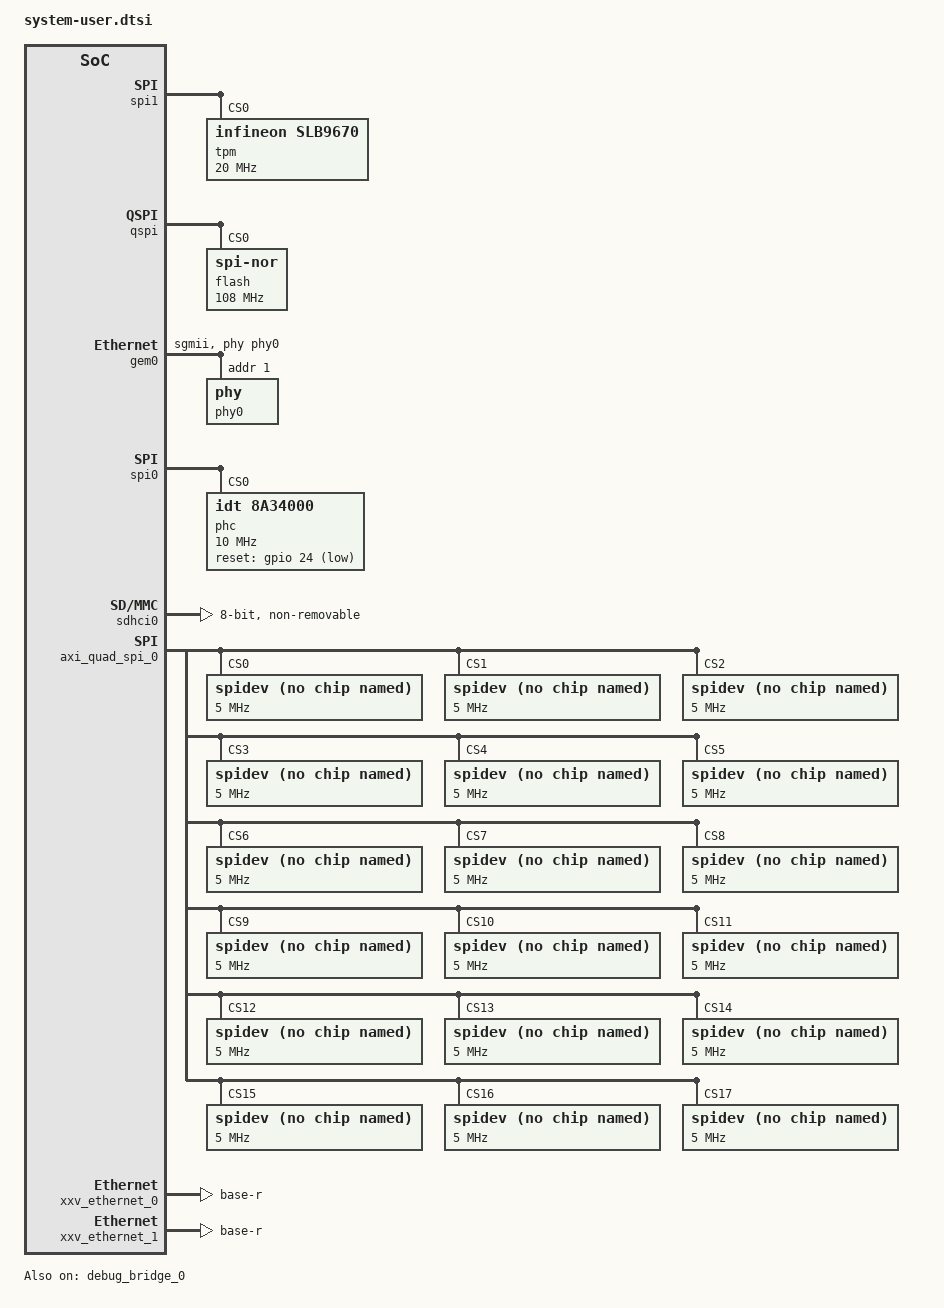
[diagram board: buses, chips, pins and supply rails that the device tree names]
/ {
    gpio_keys:alarm_keys@0 {
        compatible = "gpio-keys";
        label = "Interrupt collection";
    };

    reserved-memory {
        #address-cells = <2>;
        #size-cells = <2>;
        ranges;

        //rts capture data reserved
        reserved: buffer@0 {
            no-map;
            reg = <0x0 0x38000000 0x0 0x4000000>;
        };

		rmdom0domain: rmdom0domain@22000000 {
			reg = <0x0 0x22000000 0x0 0xE000000>; // 224MB conflict with bootscript loading at 0x20000000,shift it
			no-map;
		};		
    };
	
	rmdom0: rmdom0 {
		#address-cells = <1>;
		#size-cells = <1>;
		compatible = "linux,rmdom";
		memory-domain = <&rmdom0domain>;
		ranges;

		logsys@1000 {
			compatible = "linux,rmdom-rmem";
			reg = <0x1000 0x7FFF000>; // 128M - 4K - 4K for log system //skip RMDOM header
		};

		racd@8000000 {
			compatible = "linux,rmdom-rmem";
			reg = <0x8000000 0x4FFF000>; // 80 MB - 4K for Retrospective Analysis Core Dump
		};
	};	

    rts_mem@38000000 {
        compatible = "generic-uio";
        reg = <0x0 0x38000000 0x0 0x4000000>;
    };

/*
    select_map: select-map {
        compatible = "selectmap,ku5p";
        status = "okay";
        reg = <0x0 0xff0a0048 0x0 0x20>;
        first_check_cfg_done = <0>;
        ku_rdwr = <&gpio 65 GPIO_ACTIVE_HIGH>;
        ku_cclk = <&gpio 53 GPIO_ACTIVE_HIGH>;
        ku_prog_b = <&gpio 56 GPIO_ACTIVE_HIGH>;
        ku_cfg_done = <&gpio 52 GPIO_ACTIVE_HIGH>;
        ku_init_b = <&gpio 68 GPIO_ACTIVE_HIGH>;
        ku_csi_b = <&gpio 60 GPIO_ACTIVE_HIGH>;
        // ku_cfg_led = <&gpio 51 GPIO_ACTIVE_HIGH>;
        ku_bank_base = <&gpio 52 GPIO_ACTIVE_HIGH>;
        // D0 - D7
        gpios = <&gpio 64 GPIO_ACTIVE_HIGH
            &gpio 57 GPIO_ACTIVE_HIGH
            &gpio 66 GPIO_ACTIVE_HIGH
            &gpio 69 GPIO_ACTIVE_HIGH
            &gpio 54 GPIO_ACTIVE_HIGH
            &gpio 62 GPIO_ACTIVE_HIGH
            &gpio 61 GPIO_ACTIVE_HIGH
            &gpio 63 GPIO_ACTIVE_HIGH>;
    };
*/
};

&spi1 {
    status = "okay";
    num-cs = <1>;
    tpm@0 {
        compatible = "infineon,slb9670";
        #address-cells = <1>;
        #size-cells = <0>;
        spi-max-frequency = <20000000>;
        reg = <0>;
    };
};

&qspi {
    status = "okay";
    is-dual = <0>;
    num-cs = <1>;
    flash@0 {
        compatible ="jedec,spi-nor";
        reg = <0x0>;
        spi-tx-bus-width = <1>;
        spi-rx-bus-width = <4>;
        spi-max-frequency = <108000000>;
        #address-cells = <1>;
        #size-cells = <1>;
    };
};

&gem0 {
    status = "okay";
    phy-handle = <&phy0>;
    phy-mode = "sgmii";
    is-internal-pcspma = <0x1>;
    phy0: phy@1 {
        reg = <0x1>;
    };
};

&spi0 {
    status = "okay";
    num-cs = <1>;
    u-boot,dm-pre-reloc;
    phc@0 {
        compatible="idt,8a34000";
        reg = <0>;
        spi-max-frequency = <10000000>;
        reset-gpio = <&gpio 24 1>;//GPIO_ACTIVE_LOW
    };
};

&sdhci0 {
        status = "okay";
        bus-width = <8>;
        non-removable;
        cap-mmc-highspeed;
        cap-sd-highspeed;
        disable-wp;
        no-1-8-v;
};

&gpio_keys {
	/* will be enabled in overlay */
	status = "disabled";
};

&uart1 {
	rts-gpio = <361>;
	linux,rs485-enabled-at-boot-time;
	rs485-rts-delay = <0 20>;
};

&debug_bridge_0 {
	compatible = "xlnx,xvc";
	status = "okay";
};

&axi_intc_ku5p {
	compatible = "xlnx,intc-interlink";
	// will be enabled in overlay
	status = "disabled";
};

&axi_quad_spi_0 {
    status = "okay";
    spidev@0 {
        compatible="rohm,dh2228fv";
        reg = <0>;
        spi-max-frequency = <5000000>;
    };

    spidev@1 {
        compatible="rohm,dh2228fv";
        reg = <1>;
        spi-max-frequency = <5000000>;
    };

    spidev@2 {
        compatible="rohm,dh2228fv";
        reg = <2>;
        spi-max-frequency = <5000000>;
    };

    spidev@3 {
        compatible="rohm,dh2228fv";
        reg = <3>;
        spi-max-frequency = <5000000>;
    };

    spidev@4 {
        compatible="rohm,dh2228fv";
        reg = <4>;
        spi-max-frequency = <5000000>;
    };

    spidev@5 {
        compatible="rohm,dh2228fv";
        reg = <5>;
        spi-max-frequency = <5000000>;
    };

    spidev@6 {
        compatible="rohm,dh2228fv";
        reg = <6>;
        spi-max-frequency = <5000000>;
    };

    spidev@7 {
        compatible="rohm,dh2228fv";
        reg = <7>;
        spi-max-frequency = <5000000>;
    };

    spidev@8 {
        compatible="rohm,dh2228fv";
        reg = <8>;
        spi-max-frequency = <5000000>;
    };

    spidev@9 {
        compatible="rohm,dh2228fv";
        reg = <9>;
        spi-max-frequency = <5000000>;
    };

    spidev@10 {
        compatible="rohm,dh2228fv";
        reg = <10>;
        spi-max-frequency = <5000000>;
    };

    spidev@11 {
        compatible="rohm,dh2228fv";
        reg = <11>;
        spi-max-frequency = <5000000>;
    };

    spidev@12 {
        compatible="rohm,dh2228fv";
        reg = <12>;
        spi-max-frequency = <5000000>;
    };

    spidev@13 {
        compatible="rohm,dh2228fv";
        reg = <13>;
        spi-max-frequency = <5000000>;
    };

    spidev@14 {
        compatible="rohm,dh2228fv";
        reg = <14>;
        spi-max-frequency = <5000000>;
    };

    spidev@15 {
        compatible="rohm,dh2228fv";
        reg = <15>;
        spi-max-frequency = <5000000>;
    };

    spidev@16 {
        compatible="rohm,dh2228fv";
        reg = <16>;
        spi-max-frequency = <5000000>;
    };

    spidev@17 {
        compatible="rohm,dh2228fv";
        reg = <17>;
        spi-max-frequency = <5000000>;
    };
};

&amba_pl {
    fpga: fpga@a0000000 {
        compatible = "generic-uio";
        reg = <0x0 0xA0000000 0x0 0x20000000>;
    };

    dpd_0_USER: dpd_user@a4000000 {
        compatible = "generic-uio";
        reg = <0x0 0xa4000000 0x0 0x20000>;
    };
};

&dpd_0{
    compatible = "generic-uio";
    reg = <0x0 0xa8000000 0x0 0x4000000>;
};

&support_1588_2step_timer1588_subs_timer_1588_v2_0_0 {
   compatible = "xlnx,timer-1588-2.0";
   xlnx,period = <4000000>;
   pps_in_fifo = <&axi_fifo_mm_s_0>;
};

&support_1588_2step1_timer1588_subs_timer_1588_v2_0_0 {
   compatible = "xlnx,timer-1588-2.0";
   xlnx,period = <4000000>;
   status = "disabled";
};

&xxv_ethernet_0 {
       axistream-connected = <&axi_mcdma_0>;
       axistream-control-connected = <&axi_mcdma_0>;
       axififo-connected = <&support_1588_2step_tx_ts_fifo_axi_fifo_mm_s_0>;
       xlnx,rxtsfifo = <&support_1588_2step_rx_ts_fifo_axi_fifo_mm_s_0>;
       xlnx,num-queues = /bits/ 16 <0x1>;
       xlnx,channel-ids = "1";
       xlnx,include-dre;
       xlnx,rxmem = <0x3000>;
       interrupt-names = "mm2s_ch1_introut", "s2mm_ch1_introut";
       interrupt-parent = <&gic>;
       interrupts = <0 92 4 0 94 4>;
       local-mac-address = [00 0A 35 00 1A AE];
       phy-mode = "base-r";
       /delete-property/ managed;
};


&xxv_ethernet_1 {
       axistream-connected = <&axi_mcdma_0>;
       axistream-control-connected = <&axi_mcdma_0>;
       axififo-connected = <&support_1588_2step1_tx_ts_fifo_axi_fifo_mm_s_0>;
       xlnx,rxtsfifo = <&support_1588_2step1_rx_ts_fifo_axi_fifo_mm_s_0>;
       xlnx,num-queues = /bits/ 16 <0x1>;
       xlnx,channel-ids = "2";
       xlnx,include-dre;
       xlnx,rxmem = <0x3000>;
       interrupt-names = "mm2s_ch2_introut", "s2mm_ch2_introut";
       interrupt-parent = <&gic>;
       interrupts = <0 93 4 0 95 4>;
       local-mac-address = [00 0A 35 00 1A AF];
       phy-mode = "base-r";
       /delete-property/ managed;
};

&axi_mcdma_0 {
       compatible = "xlnx,eth-dma";
       xlnx,include-dre;
};
